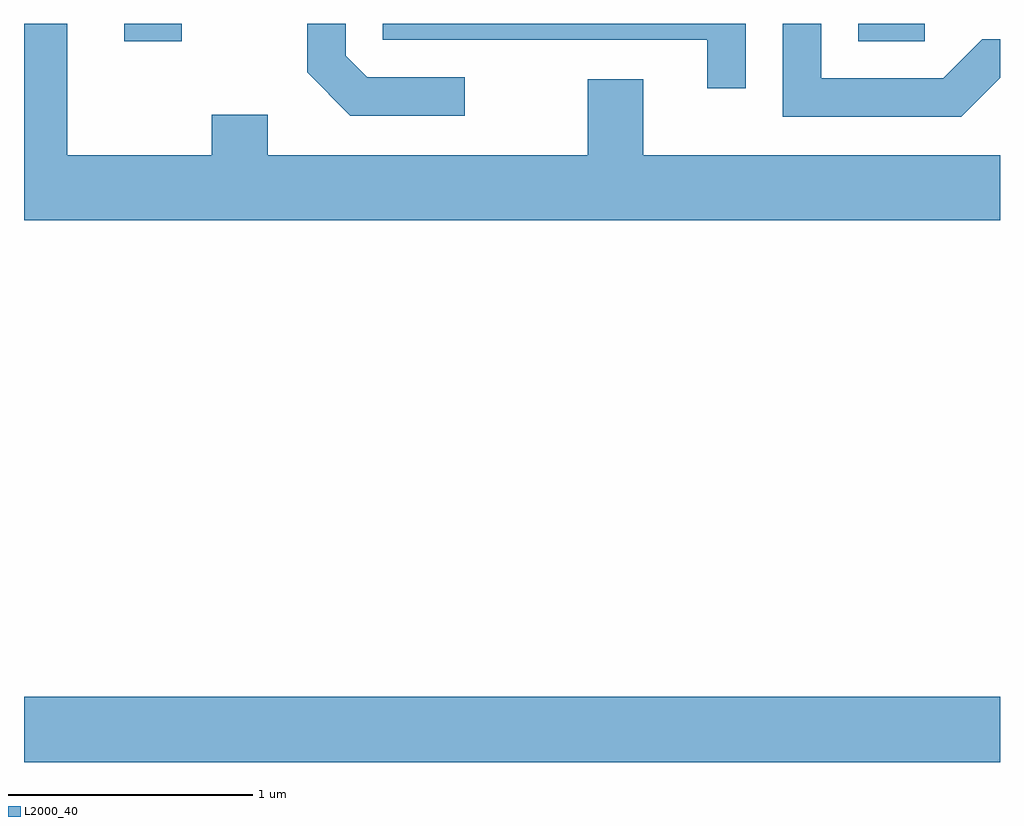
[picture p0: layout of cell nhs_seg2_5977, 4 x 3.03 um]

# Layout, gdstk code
import gdstk
lib = gdstk.Library(unit=1e-6, precision=1e-09)
def R(c, l, rs):  # rectangles x0, y0, x1, y1
    for r in rs: c.add(gdstk.rectangle(r[:2], r[2:], *l))
def P(c, l, *ps):  # polygons
    for p in ps: c.add(gdstk.Polygon(p, *l))
L2000_40 = (2000, 40)

nhs_seg2_5977 = lib.new_cell('nhs_seg2_5977')
R(nhs_seg2_5977, L2000_40, [(361.611,1032.776,365.611,1033.044), (362.021,1035.731,362.258,1035.802), (365.031,1035.731,365.303,1035.802)])
P(nhs_seg2_5977, L2000_40, [(365.611,1035.264),(364.149,1035.264),(364.149,1035.574),(363.921,1035.574),(363.921,1035.264),(362.609,1035.264),(362.609,1035.429),(362.381,1035.429),(362.381,1035.264),(361.789,1035.264),(361.789,1035.802),(361.611,1035.802),(361.611,1034.996),(365.611,1034.996)],
  [(364.569,1035.802),(363.081,1035.802),(363.081,1035.736),(364.411,1035.736),(364.411,1035.537),(364.569,1035.537)],
  [(365.611,1035.58),(365.611,1035.739),(365.539,1035.739),(365.379,1035.579),(364.879,1035.579),(364.879,1035.802),(364.721,1035.802),(364.721,1035.421),(365.452,1035.421)],
  [(363.418,1035.584),(363.017,1035.584),(362.929,1035.671),(362.929,1035.802),(362.771,1035.802),(362.771,1035.603),(362.949,1035.426),(363.418,1035.426)])

lib.write_gds('nhs_seg2_5977.gds')
